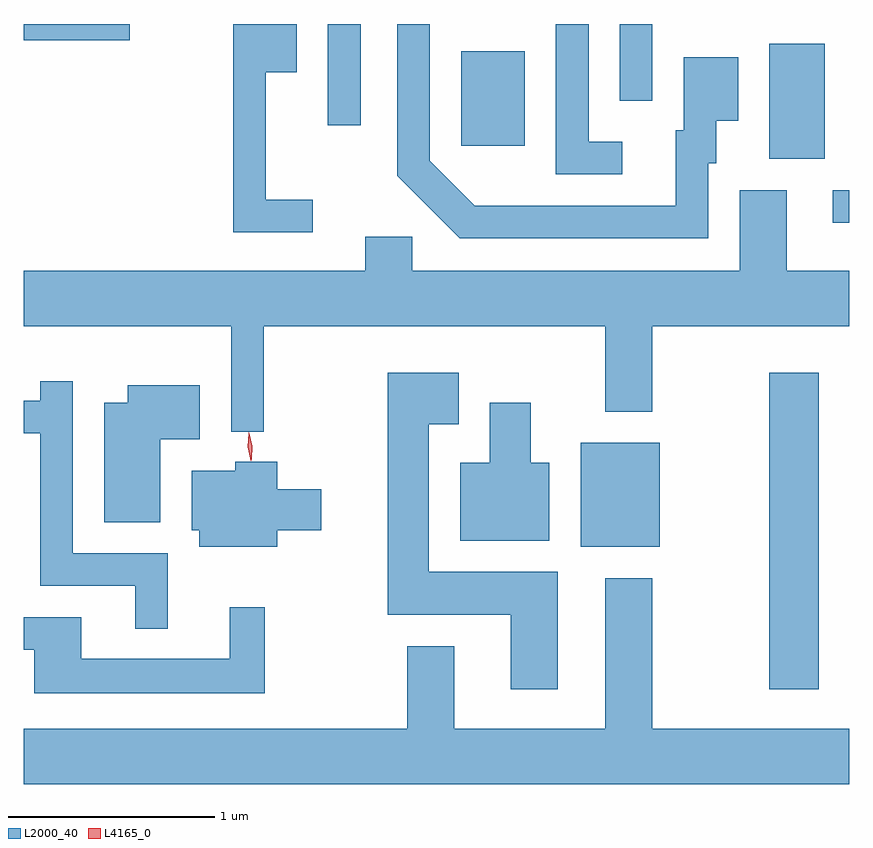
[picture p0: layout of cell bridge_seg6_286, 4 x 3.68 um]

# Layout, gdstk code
import gdstk
lib = gdstk.Library(unit=1e-6, precision=1e-09)
def R(c, l, rs):  # rectangles x0, y0, x1, y1
    for r in rs: c.add(gdstk.rectangle(r[:2], r[2:], *l))
def P(c, l, *ps):  # polygons
    for p in ps: c.add(gdstk.Polygon(p, *l))
L2000_40 = (2000, 40)
L4165_0 = (4165, 0)

bridge_seg6_286 = lib.new_cell('bridge_seg6_286')
R(bridge_seg6_286, L2000_40, [(1258.696,1563.816,1258.934,1565.349), (1257.781,1564.506,1258.164,1565.009), (1259.003,1566.076,1259.082,1566.234), (1258.696,1566.386,1258.964,1566.944), (1257.201,1566.451,1257.509,1566.909), (1256.556,1566.548,1256.714,1567.04), (1257.971,1566.668,1258.129,1567.04), (1255.082,1566.961,1255.594,1567.04)])
P(bridge_seg6_286, L2000_40, [(1257.983,1566.469),(1257.819,1566.469),(1257.819,1567.04),(1257.661,1567.04),(1257.661,1566.311),(1257.983,1566.311)],
  [(1258.399,1566.366),(1258.439,1566.366),(1258.439,1566.571),(1258.544,1566.571),(1258.544,1566.879),(1258.281,1566.879),(1258.281,1566.524),(1258.241,1566.524),(1258.241,1566.159),(1257.267,1566.159),(1257.049,1566.377),(1257.049,1567.04),(1256.891,1567.04),(1256.891,1566.304),(1257.194,1566.001),(1258.399,1566.001)],
  [(1256.483,1566.189),(1256.254,1566.189),(1256.254,1566.806),(1256.404,1566.806),(1256.404,1567.04),(1256.096,1567.04),(1256.096,1566.031),(1256.483,1566.031)],
  [(1256.244,1565.576),(1257.901,1565.576),(1257.901,1565.161),(1258.129,1565.161),(1258.129,1565.576),(1259.082,1565.576),(1259.082,1565.844),(1258.779,1565.844),(1258.779,1566.234),(1258.551,1566.234),(1258.551,1565.844),(1256.964,1565.844),(1256.964,1566.009),(1256.736,1566.009),(1256.736,1565.844),(1255.082,1565.844),(1255.082,1565.576),(1256.086,1565.576),(1256.086,1565.063),(1256.244,1565.063)],
  [(1257.669,1564.384),(1257.044,1564.384),(1257.044,1565.101),(1257.189,1565.101),(1257.189,1565.349),(1256.846,1565.349),(1256.846,1564.176),(1257.441,1564.176),(1257.441,1563.816),(1257.669,1563.816)],
  [(1255.779,1564.474),(1255.319,1564.474),(1255.319,1565.308),(1255.161,1565.308),(1255.161,1565.214),(1255.082,1565.214),(1255.082,1565.056),(1255.161,1565.056),(1255.161,1564.316),(1255.621,1564.316),(1255.621,1564.108),(1255.779,1564.108)],
  [(1255.744,1565.026),(1255.934,1565.026),(1255.934,1565.289),(1255.586,1565.289),(1255.586,1565.204),(1255.471,1565.204),(1255.471,1564.626),(1255.744,1564.626)],
  [(1257.629,1564.914),(1257.539,1564.914),(1257.539,1565.204),(1257.341,1565.204),(1257.341,1564.914),(1257.196,1564.914),(1257.196,1564.536),(1257.629,1564.536)],
  [(1256.309,1564.586),(1256.524,1564.586),(1256.524,1564.784),(1256.309,1564.784),(1256.309,1564.919),(1256.106,1564.919),(1256.106,1564.874),(1255.896,1564.874),(1255.896,1564.586),(1255.931,1564.586),(1255.931,1564.506),(1256.309,1564.506)],
  [(1259.082,1563.624),(1258.129,1563.624),(1258.129,1564.354),(1257.901,1564.354),(1257.901,1563.624),(1257.169,1563.624),(1257.169,1564.024),(1256.941,1564.024),(1256.941,1563.624),(1255.082,1563.624),(1255.082,1563.356),(1259.082,1563.356)],
  [(1256.249,1564.213),(1256.081,1564.213),(1256.081,1563.964),(1255.359,1563.964),(1255.359,1564.164),(1255.082,1564.164),(1255.082,1564.006),(1255.131,1564.006),(1255.131,1563.796),(1256.249,1563.796)])
P(bridge_seg6_286, L4165_0, [(1256.182,1564.924),(1256.168,1564.991),(1256.172,1565.059),(1256.173,1565.06),(1256.173,1565.059),(1256.188,1564.992),(1256.184,1564.924),(1256.183,1564.924)],
  [(1256.185,1564.93),(1256.169,1564.992),(1256.172,1565.056),(1256.173,1565.056),(1256.174,1565.056),(1256.189,1564.994),(1256.186,1564.93),(1256.186,1564.93)])

lib.write_gds('bridge_seg6_286.gds')
